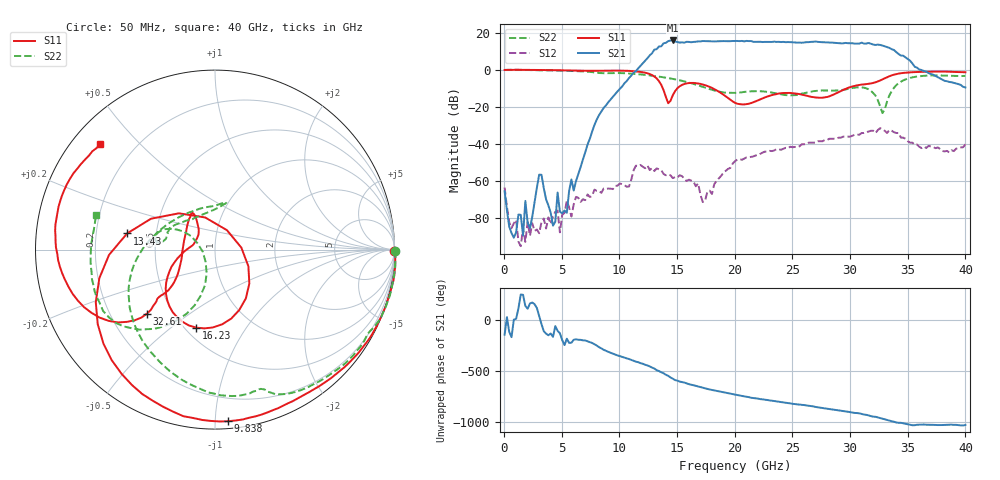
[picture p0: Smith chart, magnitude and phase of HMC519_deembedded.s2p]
!Hittite Microwave Corporation
!20 Alpha Road
!Chelmsford, MA 01824
!Tel: 978-250-3343
!Fax: 978-250-3373
!Device: HMC519, 18-32 GHz, GaAs PHEMT MMIC Low Noise Amplifier
!Misc: +3V, Room
# MHZ S MA R 50
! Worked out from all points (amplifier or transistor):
!   201 points, 50 MHz to 40 GHz, reference 50 ohm
!   highest |S21| = 15.9 dB at 14.63 GHz (marker M1)
!   |S21| within 3 dB of that: 13.65 GHz to 32.94 GHz (19.29 GHz wide, 82.8 % of centre)
!   unconditionally stable (mu >= 1): 2.646 GHz to end of sweep
!   at 6.642 GHz: K = 10474.57, MAG = -33.8 dB, |S12| = -71.1 dB
!   at 20.02 GHz: K = 22.04, MAG = 15.9 dB, |S12| = -49.2 dB
!   at 40 GHz: K = 19.99, MAG = -0.7 dB, |S12| = -40.1 dB
!   S11 on the Smith chart (normalised r, x): 50 MHz: open; 9.838 GHz: 0.05, -1.08; 13.43 GHz: 0.34, +0.08; 16.23 GHz: 0.57, -0.62; 32.61 GHz: 0.36, -0.35; 40 GHz: 0.08, +0.39
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50  0.998 -0.5  0.0005374 -146.6  0.0006811 -89.9  1.001 -0.4
2247.25  1.003 -17.6  5.436e-05 158.2  3.409e-05 169.3  1 -20.6
3246  0.996 -25.6  0.001497 -43.0  7.93e-05 -133.3  0.972 -28.9
4444.5  0.985 -35.6  8.15e-05 -63.0  0.0001501 -44.0  0.967 -39.1
6841.5  0.952 -56.1  0.003878 157.9  0.0003278 -25.3  0.913 -60.1
9837.75  0.959 -85.7  0.264 10.7  0.0007629 18.2  0.825 -79.8
12434.5  0.813 -139.9  2.073 -87.3  0.00266 23.9  0.723 -110.3
13433.25  0.498 169.6  4.298 -142.2  0.002093 16.7  0.66 -125.5
14232.25  0.127 58.4  5.977 171.2  0.001536 27.9  0.604 -139.0
14631.75  0.208 -26.5  6.231 143.0  0.00122 36.3  0.574 -145.9
16229.75  0.447 -103.5  5.578 84.4  0.001049 34.9  0.439 -173.3
17827.75  0.35 -141.7  5.931 37.7  0.0005595 -83.2  0.305 153.8
20025  0.13 170.6  6.027 -12.3  0.003483 -123.9  0.241 95.4
21423.25  0.128 135.3  6.01 -43.2  0.004539 -136.5  0.266 78.6
23420.75  0.217 120.6  5.791 -74.8  0.006754 -141.3  0.239 83.8
26816.5  0.185 153.1  5.747 -127.5  0.011 -159.5  0.268 150.5
28414.5  0.207 -158.0  5.452 -156.8  0.014 -177.5  0.278 161.1
31011.25  0.404 -139.7  5.442 158.5  0.02 155.3  0.34 166.3
32609.25  0.52 -136.7  4.719 118.9  0.027 122.8  0.104 160.0
33408.25  0.676 -143.1  3.93 94.6  0.024 103.3  0.205 -105.7
35605.5  0.876 -176.2  1.22 48.9  0.009586 72.1  0.649 -138.0
40000  0.867 137.5  0.337 50.8  0.009941 88.3  0.69 163.7
